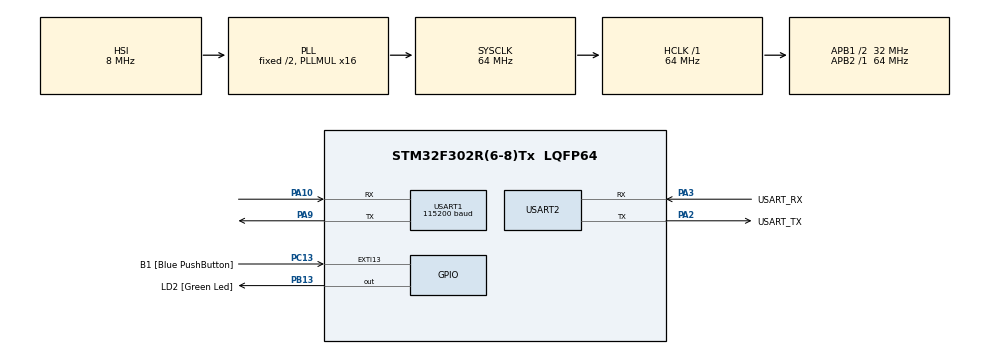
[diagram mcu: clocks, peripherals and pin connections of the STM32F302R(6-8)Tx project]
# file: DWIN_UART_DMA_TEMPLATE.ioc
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Dma.Request0=USART1_RX
Dma.Request1=USART1_TX
Dma.USART1_RX.0.Direction=DMA_PERIPH_TO_MEMORY
Dma.USART1_RX.0.Instance=DMA1_Channel5
Dma.USART1_RX.0.MemDataAlignment=DMA_MDATAALIGN_BYTE
Dma.USART1_RX.0.MemInc=DMA_MINC_ENABLE
Dma.USART1_RX.0.Mode=DMA_NORMAL
Dma.USART1_RX.0.PeriphDataAlignment=DMA_PDATAALIGN_BYTE
Dma.USART1_RX.0.PeriphInc=DMA_PINC_DISABLE
Dma.USART1_RX.0.Priority=DMA_PRIORITY_LOW
Dma.USART1_TX.1.Direction=DMA_MEMORY_TO_PERIPH
Dma.USART1_TX.1.Instance=DMA1_Channel4
Dma.USART1_TX.1.MemDataAlignment=DMA_MDATAALIGN_BYTE
Dma.USART1_TX.1.MemInc=DMA_MINC_ENABLE
Dma.USART1_TX.1.Mode=DMA_NORMAL
Dma.USART1_TX.1.PeriphDataAlignment=DMA_PDATAALIGN_BYTE
Dma.USART1_TX.1.PeriphInc=DMA_PINC_DISABLE
Dma.USART1_TX.1.Priority=DMA_PRIORITY_LOW
Mcu.Family=STM32F3
Mcu.Name=STM32F302R(6-8)Tx
Mcu.Package=LQFP64
NVIC.DMA1_Channel4_IRQn=true\:0\:0\:false\:false\:true\:false\:true\:true
NVIC.DMA1_Channel5_IRQn=true\:0\:0\:false\:false\:true\:false\:true\:true
NVIC.PriorityGroup=NVIC_PRIORITYGROUP_0
NVIC.USART1_IRQn=true\:0\:0\:false\:false\:true\:true\:true\:true
PA10.Mode=Asynchronous
PA10.Signal=USART1_RX
PA13.GPIO_Label=TMS
PA13.Mode=Serial_Wire
PA13.Signal=SYS_JTMS-SWDIO
PA14.GPIO_Label=TCK
PA14.Mode=Serial_Wire
PA14.Signal=SYS_JTCK-SWCLK
PA2.GPIO_Label=USART_TX
PA2.GPIO_Mode=GPIO_MODE_AF_PP
PA2.GPIO_PuPd=GPIO_NOPULL
PA2.GPIO_Speed=GPIO_SPEED_FREQ_LOW
PA2.Mode=Asynchronous
PA2.Signal=USART2_TX
PA3.GPIO_Label=USART_RX
PA3.GPIO_Mode=GPIO_MODE_AF_PP
PA3.GPIO_PuPd=GPIO_NOPULL
PA3.GPIO_Speed=GPIO_SPEED_FREQ_LOW
PA3.Mode=Asynchronous
PA3.Signal=USART2_RX
PA9.Mode=Asynchronous
PA9.Signal=USART1_TX
PB13.GPIO_Label=LD2 [Green Led]
PB13.Signal=GPIO_Output
PB3.GPIO_Label=SWO
PB3.Mode=Trace_Asynchronous_SW
PB3.Signal=SYS_JTDO-TRACESWO
PC13.GPIO_Label=B1 [Blue PushButton]
PC13.GPIO_ModeDefaultEXTI=GPIO_MODE_IT_FALLING
PC13.Signal=GPXTI13
PC14\ -\ OSC32_IN.Mode=LSE-External-Oscillator
PC14\ -\ OSC32_IN.Signal=RCC_OSC32_IN
PC15\ -\ OSC32_OUT.Mode=LSE-External-Oscillator
PC15\ -\ OSC32_OUT.Signal=RCC_OSC32_OUT
PF0-OSC_IN.Mode=HSE-External-Clock-Source
PF0-OSC_IN.Signal=RCC_OSC_IN
PF1-OSC_OUT.Signal=RCC_OSC_OUT
ProjectManager.HeapSize=0x200
ProjectManager.StackSize=0x400
ProjectManager.TargetToolchain=STM32CubeIDE
RCC.AHBFreq_Value=64000000
RCC.APB1CLKDivider=RCC_HCLK_DIV2
RCC.APB1Freq_Value=32000000
RCC.APB1TimFreq_Value=64000000
RCC.APB2Freq_Value=64000000
RCC.APB2TimFreq_Value=64000000
RCC.CortexFreq_Value=64000000
RCC.HCLKFreq_Value=64000000
RCC.HSE_VALUE=8000000
RCC.HSI_VALUE=8000000
RCC.PLLM=8
RCC.PLLMUL=RCC_PLL_MUL16
RCC.PLLN=336
RCC.PLLP=RCC_PLLP_DIV4
RCC.PLLQ=7
RCC.RCC_PLLsource_Clock_Source_FROM_HSE=RCC_HSE_PREDIV_DIV2
RCC.SYSCLKFreq_VALUE=64000000
RCC.SYSCLKSourceVirtual=RCC_SYSCLKSOURCE_PLLCLK
RCC.USBFreq_Value=64000000
USART1.BaudRate=115200
USART1.VirtualMode-Asynchronous=VM_ASYNC
USART2.VirtualMode-Asynchronous=VM_ASYNC
board=NUCLEO-F302R8

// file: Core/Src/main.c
/* USER CODE BEGIN Header */
/**
  ******************************************************************************
  * @file           : main.c
  * @brief          : Main program body
  ******************************************************************************
  * @attention
  *
  * Copyright (c) 2026 STMicroelectronics.
  * All rights reserved.
  *
  * This software is licensed under terms that can be found in the LICENSE file
  * in the root directory of this software component.
  * If no LICENSE file comes with this software, it is provided AS-IS.
  *
  ******************************************************************************
  */
/* USER CODE END Header */
#include "main.h"

/* USER CODE BEGIN Includes */
#include <stdint.h>
#include<string.h>
#include<stdlib.h>
#include<stdio.h>
/* USER CODE END Includes */

UART_HandleTypeDef huart1;
UART_HandleTypeDef huart2;
DMA_HandleTypeDef hdma_usart1_rx;
DMA_HandleTypeDef hdma_usart1_tx;

void SystemClock_Config(void);
static void MX_GPIO_Init(void);
static void MX_DMA_Init(void);
static void MX_USART1_UART_Init(void);
static void MX_USART2_UART_Init(void);

/* USER CODE BEGIN 0 */
#define DWIN_RX_BUFFER_SIZE  64
#define DWIN_HEADER_1        0x5A
#define DWIN_HEADER_2        0xA5
static 	uint8_t rx_buffer[DWIN_RX_BUFFER_SIZE];
static 	uint8_t dwin_rx_copy[DWIN_RX_BUFFER_SIZE];
volatile uint8_t dwin_frame_ready = 0;
volatile uint16_t dwin_rx_length = 0;
volatile uint16_t vp_address = 0;
volatile uint16_t received_value = 0;
volatile uint8_t  vp_updated = 0;
static uint8_t tx_buffer[32];
uint16_t current_value=0;

static const uint16_t data_send_command_flow             = 0x5110;
static const uint16_t data_send_command_required_flow    = 0x5120;

void DWIN_Send(uint8_t *data, uint16_t len)
{
	//    if (huart6.gState == HAL_UART_STATE_READY)
	//    {

//	        HAL_UART_Transmit_DMA(&huart6, data, len);
	//    }
		HAL_UART_Transmit(&huart1, data, len, HAL_MAX_DELAY);
}

void DWIN_WriteVP(uint16_t vp, uint16_t value)
{
    tx_buffer[0] = 0x5A;
    tx_buffer[1] = 0xA5;
    tx_buffer[2] = 0x05;
    tx_buffer[3] = 0x82;
    tx_buffer[4] = (vp >> 8);
    tx_buffer[5] = (vp & 0xFF);
    tx_buffer[6] = (value >> 8);
    tx_buffer[7] = (value & 0xFF);

    DWIN_Send(tx_buffer, 8);
}

void dwin_page_change(int page_no)
{
    tx_buffer[0] = 0x5A;
    tx_buffer[1] = 0xA5;
    tx_buffer[2] = 0x07;
    tx_buffer[3] = 0x82;
    tx_buffer[4] = 0x00;
    tx_buffer[5] = 0x84;
    tx_buffer[6] = 0x5A;
    tx_buffer[7] = 0x01;
    tx_buffer[8] = (page_no >> 8);
    tx_buffer[9] = (page_no & 0xFF);

    DWIN_Send(tx_buffer, 10);
}

void dwin_copy_image(
    uint16_t vp,
    uint16_t image_id,
    uint16_t page,
    uint16_t layer,
    uint16_t src_x,
    uint16_t src_y,
    uint16_t width,
    uint16_t height,
    uint16_t dst_x,
    uint16_t dst_y
)
{
    static uint8_t frame[26];

    frame[0]  = 0x5A;
    frame[1]  = 0xA5;
    frame[2]  = 0x17;        // Data length
    frame[3]  = 0x82;        // Write VP

    frame[4]  = vp >> 8;
    frame[5]  = vp & 0xFF;

    frame[6]  = image_id >> 8;
    frame[7]  = image_id & 0xFF;

    frame[8]  = page >> 8;
    frame[9]  = page & 0xFF;

    frame[10] = layer >> 8;
    frame[11] = layer & 0xFF;

    frame[12] = src_x >> 8;
    frame[13] = src_x & 0xFF;

    frame[14] = src_y >> 8;
    frame[15] = src_y & 0xFF;

    frame[16] = width >> 8;
    frame[17] = width & 0xFF;

    frame[18] = height >> 8;
    frame[19] = height & 0xFF;

    frame[20] = dst_x >> 8;
    frame[21] = dst_x & 0xFF;

    frame[22] = dst_y >> 8;
    frame[23] = dst_y & 0xFF;

    frame[24] = 0xFF;
    frame[25] = 0x00;

    DWIN_Send(frame, sizeof(frame));
}

void dwin_set_flow(uint16_t vp,uint16_t data_update)
{
	DWIN_WriteVP(vp, data_update);
}
void battery_one_level()
{
	dwin_copy_image(0x6020,0x0006,0x0001,0x000b,0x048e,0x019a,0x04b5,0x01e1,0x04a9,0x025e);
}

void HAL_UARTEx_RxEventCallback(UART_HandleTypeDef *huart,
                                uint16_t Size)
{
    if (huart->Instance == USART1)
    {
        memcpy(dwin_rx_copy, rx_buffer, Size);

        dwin_rx_length = Size;
        dwin_frame_ready = 1;

        HAL_UARTEx_ReceiveToIdle_DMA(&huart1,rx_buffer,DWIN_RX_BUFFER_SIZE);
        __HAL_DMA_DISABLE_IT(&hdma_usart1_rx,DMA_IT_HT);
    }
}

void DWIN_ParseFrame(uint8_t *data, uint16_t len)
{
    for (uint16_t i = 0; i + 3 < len; i++)
    {
        if (data[i] == 0x5A && data[i+1] == 0xA5)
        {
            uint8_t payload_len = data[i+2];
            uint16_t frame_len = payload_len + 3;

            if (i + frame_len > len)
                break;  // incomplete frame

            uint8_t cmd = data[i+3];

            if (cmd == 0x83 && payload_len >= 5)
            {
                uint16_t vp =
                    (data[i+4] << 8) |
                     data[i+5];

                uint16_t value =
                    (data[i+frame_len-2] << 8) |
                     data[i+frame_len-1];

                vp_address   = vp;
                received_value = value;

                printf("vp address = %d\n",vp_address);
                printf("received value = %d\n",received_value);
                vp_updated = 1;
            }
            i += frame_len - 1;  // jump to next frame
        }
    }
}

void display_control(void)
{
    static uint32_t last_touch_time = 0;

    if(!vp_updated)
          return;

     vp_updated = 0;

//     if(HAL_GetTick() - last_touch_time < 150)
//         return;
//
//     last_touch_time = HAL_GetTick();

        switch (vp_address)
        {
            case 0x1000:
            {
            	switch(received_value)
            	{
            	case 0x0001:

            		break;

            	case 0x0002:

            		break;
            	}
            	break;

            }

            case 0x2000:
            {
            	current_value=received_value;     //for values
            	break;
            }
        }
}
/* USER CODE END 0 */

int main(void)
{

  /* MCU Configuration--------------------------------------------------------*/

  /* Reset of all peripherals, Initializes the Flash interface and the Systick. */
  HAL_Init();

  /* Configure the system clock */
  SystemClock_Config();

  /* Initialize all configured peripherals */
  MX_GPIO_Init();
  MX_DMA_Init();
  MX_USART1_UART_Init();
  MX_USART2_UART_Init();
  /* USER CODE BEGIN 2 */

  HAL_UARTEx_ReceiveToIdle_DMA(&huart1,rx_buffer,DWIN_RX_BUFFER_SIZE);
  __HAL_DMA_DISABLE_IT(&hdma_usart1_rx,DMA_IT_HT);

  dwin_page_change(0);
  HAL_Delay(1000);
  dwin_page_change(9);

  printf("vp address");

  /* USER CODE END 2 */

  /* Infinite loop */
  /* USER CODE BEGIN WHILE */
  while (1)
  {

	  if (dwin_frame_ready)
	  {
	      dwin_frame_ready = 0;
	      DWIN_ParseFrame(dwin_rx_copy, dwin_rx_length);
	  }

	  display_control();
    /* USER CODE END WHILE */

  }
}

void SystemClock_Config(void)
{
  RCC_OscInitTypeDef RCC_OscInitStruct = {0};
  RCC_ClkInitTypeDef RCC_ClkInitStruct = {0};
  RCC_PeriphCLKInitTypeDef PeriphClkInit = {0};

  /** Initializes the RCC Oscillators according to the specified parameters
  * in the RCC_OscInitTypeDef structure.
  */
  RCC_OscInitStruct.OscillatorType = RCC_OSCILLATORTYPE_HSI;
  RCC_OscInitStruct.HSIState = RCC_HSI_ON;
  RCC_OscInitStruct.HSICalibrationValue = RCC_HSICALIBRATION_DEFAULT;
  RCC_OscInitStruct.PLL.PLLState = RCC_PLL_ON;
  RCC_OscInitStruct.PLL.PLLSource = RCC_PLLSOURCE_HSI;
  RCC_OscInitStruct.PLL.PLLMUL = RCC_PLL_MUL16;
  if (HAL_RCC_OscConfig(&RCC_OscInitStruct) != HAL_OK)
  {
    Error_Handler();
  }

  /** Initializes the CPU, AHB and APB buses clocks
  */
  RCC_ClkInitStruct.ClockType = RCC_CLOCKTYPE_HCLK|RCC_CLOCKTYPE_SYSCLK
                              |RCC_CLOCKTYPE_PCLK1|RCC_CLOCKTYPE_PCLK2;
  RCC_ClkInitStruct.SYSCLKSource = RCC_SYSCLKSOURCE_PLLCLK;
  RCC_ClkInitStruct.AHBCLKDivider = RCC_SYSCLK_DIV1;
  RCC_ClkInitStruct.APB1CLKDivider = RCC_HCLK_DIV2;
  RCC_ClkInitStruct.APB2CLKDivider = RCC_HCLK_DIV1;

  if (HAL_RCC_ClockConfig(&RCC_ClkInitStruct, FLASH_LATENCY_2) != HAL_OK)
  {
    Error_Handler();
  }
  PeriphClkInit.PeriphClockSelection = RCC_PERIPHCLK_USART1;
  PeriphClkInit.Usart1ClockSelection = RCC_USART1CLKSOURCE_PCLK1;
  if (HAL_RCCEx_PeriphCLKConfig(&PeriphClkInit) != HAL_OK)
  {
    Error_Handler();
  }
}

static void MX_USART1_UART_Init(void)
{

  huart1.Instance = USART1;
  huart1.Init.BaudRate = 115200;
  huart1.Init.WordLength = UART_WORDLENGTH_8B;
  huart1.Init.StopBits = UART_STOPBITS_1;
  huart1.Init.Parity = UART_PARITY_NONE;
  huart1.Init.Mode = UART_MODE_TX_RX;
  huart1.Init.HwFlowCtl = UART_HWCONTROL_NONE;
  huart1.Init.OverSampling = UART_OVERSAMPLING_16;
  huart1.Init.OneBitSampling = UART_ONE_BIT_SAMPLE_DISABLE;
  huart1.AdvancedInit.AdvFeatureInit = UART_ADVFEATURE_NO_INIT;
  if (HAL_UART_Init(&huart1) != HAL_OK)
  {
    Error_Handler();
  }

}

static void MX_USART2_UART_Init(void)
{

  huart2.Instance = USART2;
  huart2.Init.BaudRate = 115200;
  huart2.Init.WordLength = UART_WORDLENGTH_8B;
  huart2.Init.StopBits = UART_STOPBITS_1;
  huart2.Init.Parity = UART_PARITY_NONE;
  huart2.Init.Mode = UART_MODE_TX_RX;
  huart2.Init.HwFlowCtl = UART_HWCONTROL_NONE;
  huart2.Init.OverSampling = UART_OVERSAMPLING_16;
  huart2.Init.OneBitSampling = UART_ONE_BIT_SAMPLE_DISABLE;
  huart2.AdvancedInit.AdvFeatureInit = UART_ADVFEATURE_NO_INIT;
  if (HAL_UART_Init(&huart2) != HAL_OK)
  {
    Error_Handler();
  }

}

static void MX_DMA_Init(void)
{

  /* DMA controller clock enable */
  __HAL_RCC_DMA1_CLK_ENABLE();

  /* DMA interrupt init */
  /* DMA1_Channel4_IRQn interrupt configuration */
  HAL_NVIC_SetPriority(DMA1_Channel4_IRQn, 0, 0);
  HAL_NVIC_EnableIRQ(DMA1_Channel4_IRQn);
  /* DMA1_Channel5_IRQn interrupt configuration */
  HAL_NVIC_SetPriority(DMA1_Channel5_IRQn, 0, 0);
  HAL_NVIC_EnableIRQ(DMA1_Channel5_IRQn);

}

static void MX_GPIO_Init(void)
{
  GPIO_InitTypeDef GPIO_InitStruct = {0};

  /* GPIO Ports Clock Enable */
  __HAL_RCC_GPIOC_CLK_ENABLE();
  __HAL_RCC_GPIOF_CLK_ENABLE();
  __HAL_RCC_GPIOA_CLK_ENABLE();
  __HAL_RCC_GPIOB_CLK_ENABLE();

  /*Configure GPIO pin Output Level */
  HAL_GPIO_WritePin(LD2_GPIO_Port, LD2_Pin, GPIO_PIN_RESET);

  /*Configure GPIO pin : B1_Pin */
  GPIO_InitStruct.Pin = B1_Pin;
  GPIO_InitStruct.Mode = GPIO_MODE_IT_FALLING;
  GPIO_InitStruct.Pull = GPIO_NOPULL;
  HAL_GPIO_Init(B1_GPIO_Port, &GPIO_InitStruct);

  /*Configure GPIO pin : LD2_Pin */
  GPIO_InitStruct.Pin = LD2_Pin;
  GPIO_InitStruct.Mode = GPIO_MODE_OUTPUT_PP;
  GPIO_InitStruct.Pull = GPIO_NOPULL;
  GPIO_InitStruct.Speed = GPIO_SPEED_FREQ_LOW;
  HAL_GPIO_Init(LD2_GPIO_Port, &GPIO_InitStruct);

}

void Error_Handler(void)
{
  __disable_irq();
  while (1)
  {
  }
}
